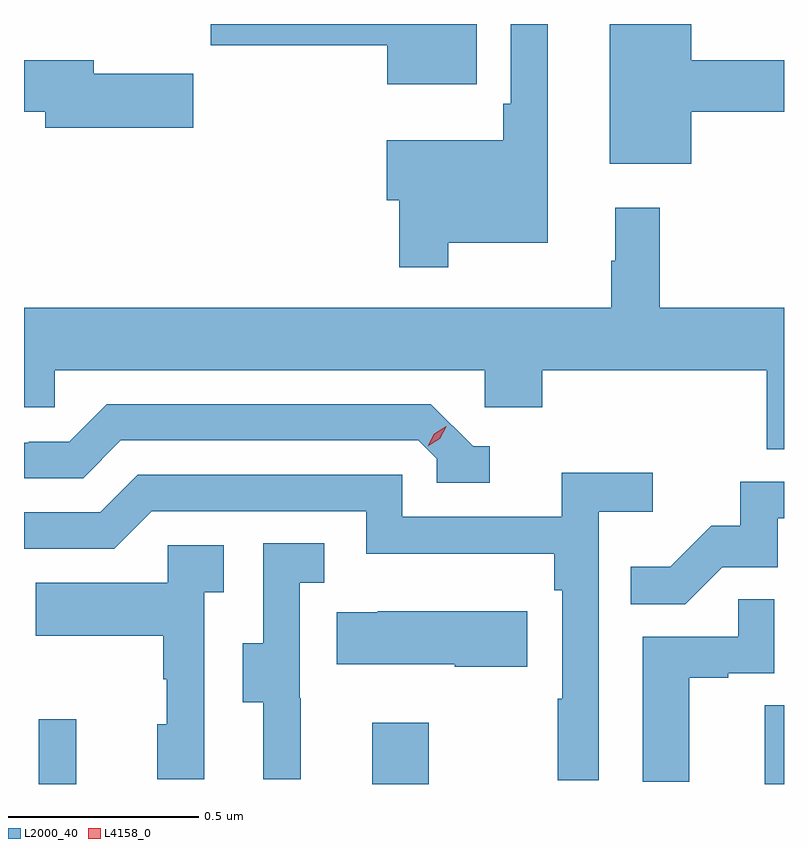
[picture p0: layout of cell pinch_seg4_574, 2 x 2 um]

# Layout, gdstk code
import gdstk
lib = gdstk.Library(unit=1e-6, precision=1e-09)
def R(c, l, rs):  # rectangles x0, y0, x1, y1
    for r in rs: c.add(gdstk.rectangle(r[:2], r[2:], *l))
def P(c, l, *ps):  # polygons
    for p in ps: c.add(gdstk.Polygon(p, *l))
L2000_40 = (2000, 40)
L4158_0 = (4158, 0)

pinch_seg4_574 = lib.new_cell('pinch_seg4_574')
R(pinch_seg4_574, L2000_40, [(1101.057,777.083,1101.155,777.253), (1101.935,777.083,1102.083,777.244), (1102.967,777.083,1103.018,777.29)])
P(pinch_seg4_574, L2000_40, [(1102.774,778.852),(1103.018,778.852),(1103.018,778.988),(1102.774,778.988),(1102.774,779.083),(1102.559,779.083),(1102.559,778.715),(1102.774,778.715)],
  [(1102.21,779.083),(1101.51,779.083),(1101.51,779.027),(1101.974,779.027),(1101.974,778.925),(1102.21,778.925)],
  [(1102.135,778.508),(1102.396,778.508),(1102.396,779.083),(1102.299,779.083),(1102.299,778.873),(1102.279,778.873),(1102.279,778.777),(1101.972,778.777),(1101.972,778.619),(1102.006,778.619),(1102.006,778.443),(1102.135,778.443)],
  [(1101.463,778.952),(1101.202,778.952),(1101.202,778.988),(1101.018,778.988),(1101.018,778.852),(1101.074,778.852),(1101.074,778.81),(1101.463,778.81)],
  [(1103.018,778.336),(1102.691,778.336),(1102.691,778.6),(1102.574,778.6),(1102.574,778.46),(1102.563,778.46),(1102.563,778.336),(1101.018,778.336),(1101.018,778.074),(1101.099,778.074),(1101.099,778.172),(1102.23,778.172),(1102.23,778.074),(1102.382,778.074),(1102.382,778.172),(1102.973,778.172),(1102.973,777.964),(1103.018,777.964)],
  [(1102.243,777.972),(1102.2,777.972),(1102.089,778.083),(1101.236,778.083),(1101.137,777.984),(1101.03,777.984),(1101.03,777.981),(1101.018,777.981),(1101.018,777.888),(1101.174,777.888),(1101.273,777.987),(1102.056,777.987),(1102.104,777.939),(1102.104,777.876),(1102.243,777.876)],
  [(1102.53,777.8),(1102.672,777.8),(1102.672,777.902),(1102.433,777.902),(1102.433,777.786),(1102.014,777.786),(1102.014,777.897),(1101.317,777.897),(1101.218,777.798),(1101.018,777.798),(1101.018,777.702),(1101.255,777.702),(1101.354,777.801),(1101.918,777.801),(1101.918,777.689),(1102.414,777.689),(1102.414,777.593),(1102.434,777.593),(1102.434,777.308),(1102.422,777.308),(1102.422,777.093),(1102.53,777.093)],
  [(1102.856,777.654),(1103.001,777.654),(1103.001,777.783),(1103.018,777.783),(1103.018,777.879),(1102.903,777.879),(1102.903,777.762),(1102.826,777.762),(1102.719,777.655),(1102.615,777.655),(1102.615,777.556),(1102.758,777.556)],
  [(1101.746,777.309),(1101.744,777.309),(1101.744,777.613),(1101.808,777.613),(1101.808,777.716),(1101.648,777.716),(1101.648,777.453),(1101.593,777.453),(1101.593,777.298),(1101.647,777.298),(1101.647,777.096),(1101.746,777.096)],
  [(1101.492,777.587),(1101.544,777.587),(1101.544,777.711),(1101.396,777.711),(1101.396,777.613),(1101.049,777.613),(1101.049,777.473),(1101.384,777.473),(1101.384,777.359),(1101.394,777.359),(1101.394,777.24),(1101.368,777.24),(1101.368,777.096),(1101.492,777.096)],
  [(1102.768,777.363),(1102.871,777.363),(1102.871,777.375),(1102.992,777.375),(1102.992,777.569),(1102.897,777.569),(1102.897,777.471),(1102.646,777.471),(1102.646,777.089),(1102.768,777.089)],
  [(1102.342,777.538),(1101.949,777.538),(1101.949,777.535),(1101.841,777.535),(1101.841,777.398),(1102.151,777.398),(1102.151,777.391),(1102.342,777.391)])
P(pinch_seg4_574, L4158_0, [(1102.081,777.972),(1102.081,777.972),(1102.098,778.005),(1102.129,778.024),(1102.129,778.024),(1102.129,778.023),(1102.112,777.991),(1102.081,777.972)])

lib.write_gds('pinch_seg4_574.gds')
